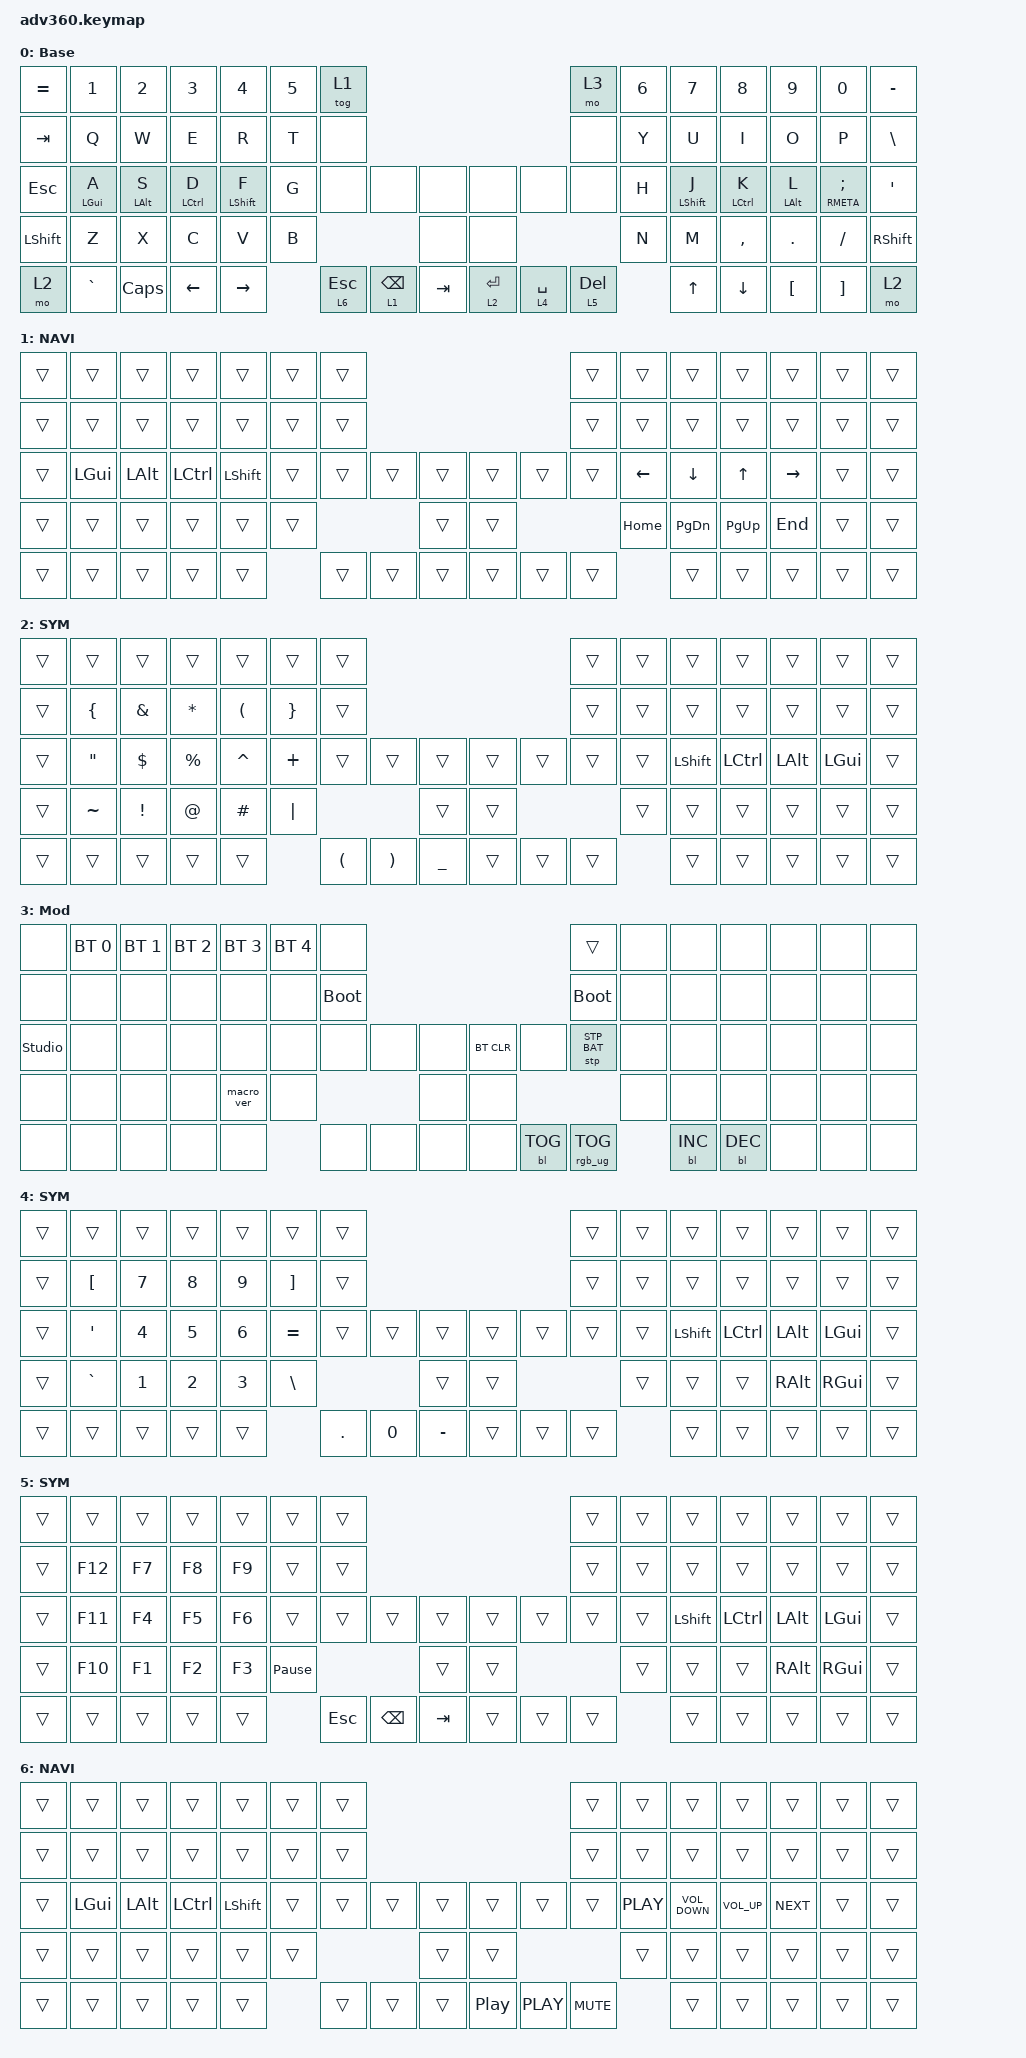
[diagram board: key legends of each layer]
#include <dt-bindings/zmk/stp.h>
#include <behaviors.dtsi>
#include <dt-bindings/zmk/backlight.h>
#include <dt-bindings/zmk/bt.h>
#include <dt-bindings/zmk/keys.h>
#include <dt-bindings/zmk/rgb.h>

/* &mt { */
/*     quick-tap-ms = <100>; */
/*     global-quick-tap; */
/*     flavor = "tap-preferred"; */
/*     tapping-term-ms = <200>; */
/* }; */

/ {
    behaviors {
      #include "macros.dtsi"
      #include "version.dtsi"

        hm: homerow_mods {
            compatible = "zmk,behavior-hold-tap";
            label = "HOMEROW_MODS";
            #binding-cells = <2>;
            bindings = <&kp>, <&kp>;

            flavor = "balanced";
            tapping-term-ms = <250>;
            quick-tap-ms = <175>;
            require-prior-idle-ms = <150>;
        };
    };

    keymap {
        compatible = "zmk,keymap";

        default_layer {
            display-name = "Base";
            bindings = <
&kp EQUAL  &kp N1      &kp N2      &kp N3              &kp N4            &kp N5  &tog 1                                                                &mo 3         &kp N6  &kp N7             &kp N8               &kp N9          &kp N0               &kp MINUS
&kp TAB    &kp Q       &kp W       &kp E               &kp R             &kp T   &none                                                                 &none         &kp Y   &kp U              &kp I                &kp O           &kp P                &kp BSLH
&kp ESC    &mt LGUI A  &mt LALT S  &mt LEFT_CONTROL D  &mt LEFT_SHIFT F  &kp G   &none         &none            &none        &none        &none        &none         &kp H   &mt LEFT_SHIFT J   &mt LEFT_CONTROL K   &mt LEFT_ALT L  &mt RMETA SEMICOLON  &kp SQT
&kp LSHFT  &kp Z       &kp X       &kp C               &kp V             &kp B                                  &none        &none                                   &kp N   &kp M              &kp COMMA            &kp DOT         &kp FSLH             &kp RSHFT
&mo 2      &kp GRAVE   &kp CAPS    &kp LEFT            &kp RIGHT                 &lt 6 ESCAPE  &lt 1 BACKSPACE  &kp TAB      &lt 2 ENTER  &lt 4 SPACE  &lt 5 DELETE          &kp UP             &kp DOWN             &kp LBKT        &kp RBKT             &mo 2
            >;
        };

        keypad {
            display-name = "NAVI";
            bindings = <
&trans  &trans    &trans    &trans            &trans          &trans  &trans                                      &trans  &trans          &trans          &trans        &trans           &trans  &trans
&trans  &trans    &trans    &trans            &trans          &trans  &trans                                      &trans  &trans          &trans          &trans        &trans           &trans  &trans
&trans  &kp LGUI  &kp LALT  &kp LEFT_CONTROL  &kp LEFT_SHIFT  &trans  &trans  &trans  &trans      &trans  &trans  &trans  &kp LEFT_ARROW  &kp DOWN_ARROW  &kp UP_ARROW  &kp RIGHT_ARROW  &trans  &trans
&trans  &trans    &trans    &trans            &trans          &trans                  &trans      &trans                  &kp HOME        &kp PAGE_DOWN   &kp PAGE_UP   &kp END          &trans  &trans
&trans  &trans    &trans    &trans            &trans                  &trans  &trans  &trans      &trans  &trans  &trans                  &trans          &trans        &trans           &trans  &trans
            >;
        };

        fn {
            display-name = "SYM";
            bindings = <
&trans  &trans             &trans         &trans        &trans                &trans           &trans                                                                           &trans  &trans  &trans      &trans            &trans    &trans    &trans
&trans  &kp LEFT_BRACE     &kp AMPERSAND  &kp ASTERISK  &kp LEFT_PARENTHESIS  &kp RIGHT_BRACE  &trans                                                                           &trans  &trans  &trans      &trans            &trans    &trans    &trans
&trans  &kp DOUBLE_QUOTES  &kp DOLLAR     &kp PERCENT   &kp CARET             &kp PLUS         &trans                &trans                 &trans              &trans  &trans  &trans  &trans  &kp LSHIFT  &kp LEFT_CONTROL  &kp LALT  &kp LGUI  &trans
&trans  &kp TILDE          &kp EXCL       &kp AT_SIGN   &kp HASH              &kp PIPE                                                      &trans              &trans                  &trans  &trans      &trans            &trans    &trans    &trans
&trans  &trans             &trans         &trans        &trans                                 &kp LEFT_PARENTHESIS  &kp RIGHT_PARENTHESIS  &kp UNDERSCORE      &trans  &trans  &trans          &trans      &trans            &trans    &trans    &trans
            >;
        };

        mod {
            display-name = "Mod";
            bindings = <
&none           &bt BT_SEL 0  &bt BT_SEL 1  &bt BT_SEL 2  &bt BT_SEL 3  &bt BT_SEL 4  &none                                                  &trans           &none  &none       &none       &none  &none  &none
&none           &none         &none         &none         &none         &none         &bootloader                                            &bootloader      &none  &none       &none       &none  &none  &none
&studio_unlock  &none         &none         &none         &none         &none         &none        &none  &none      &bt BT_CLR  &none       &stp STP_BAT     &none  &none       &none       &none  &none  &none
&none           &none         &none         &none         &macro_ver    &none                             &none      &none                                    &none  &none       &none       &none  &none  &none
&none           &none         &none         &none         &none                       &none        &none  &none      &none       &bl BL_TOG  &rgb_ug RGB_TOG         &bl BL_INC  &bl BL_DEC  &none  &none  &none
            >;
        };

        layer_9 {
            display-name = "SYM";
            bindings = <
&trans  &trans            &trans  &trans  &trans  &trans             &trans                                          &trans  &trans  &trans      &trans            &trans         &trans    &trans
&trans  &kp LEFT_BRACKET  &kp N7  &kp N8  &kp N9  &kp RIGHT_BRACKET  &trans                                          &trans  &trans  &trans      &trans            &trans         &trans    &trans
&trans  &kp SQT           &kp N4  &kp N5  &kp N6  &kp EQUAL          &trans   &trans  &trans         &trans  &trans  &trans  &trans  &kp LSHIFT  &kp LEFT_CONTROL  &kp LALT       &kp LGUI  &trans
&trans  &kp GRAVE         &kp N1  &kp N2  &kp N3  &kp BSLH                            &trans         &trans                  &trans  &trans      &trans            &kp RIGHT_ALT  &kp RGUI  &trans
&trans  &trans            &trans  &trans  &trans                     &kp DOT  &kp N0  &kp MINUS      &trans  &trans  &trans          &trans      &trans            &trans         &trans    &trans
            >;
        };

        layer_10 {
            display-name = "SYM";
            bindings = <
&trans  &trans   &trans  &trans  &trans  &trans           &trans                                          &trans  &trans  &trans      &trans            &trans         &trans    &trans
&trans  &kp F12  &kp F7  &kp F8  &kp F9  &trans           &trans                                          &trans  &trans  &trans      &trans            &trans         &trans    &trans
&trans  &kp F11  &kp F4  &kp F5  &kp F6  &trans           &trans   &trans    &trans       &trans  &trans  &trans  &trans  &kp LSHIFT  &kp LEFT_CONTROL  &kp LALT       &kp LGUI  &trans
&trans  &kp F10  &kp F1  &kp F2  &kp F3  &kp PAUSE_BREAK                     &trans       &trans                  &trans  &trans      &trans            &kp RIGHT_ALT  &kp RGUI  &trans
&trans  &trans   &trans  &trans  &trans                   &kp ESC  &kp BSPC  &kp TAB      &trans  &trans  &trans          &trans      &trans            &trans         &trans    &trans
            >;
        };

        MEDIA {
            display-name = "NAVI";
            bindings = <
&trans  &trans    &trans    &trans            &trans          &trans  &trans                                                    &trans      &trans      &trans             &trans           &trans      &trans  &trans
&trans  &trans    &trans    &trans            &trans          &trans  &trans                                                    &trans      &trans      &trans             &trans           &trans      &trans  &trans
&trans  &kp LGUI  &kp LALT  &kp LEFT_CONTROL  &kp LEFT_SHIFT  &trans  &trans  &trans  &trans      &trans            &trans      &trans      &kp C_PLAY  &kp C_VOLUME_DOWN  &kp C_VOLUME_UP  &kp C_NEXT  &trans  &trans
&trans  &trans    &trans    &trans            &trans          &trans                  &trans      &trans                                    &trans      &trans             &trans           &trans      &trans  &trans
&trans  &trans    &trans    &trans            &trans                  &trans  &trans  &trans      &kp C_PLAY_PAUSE  &kp C_PLAY  &kp C_MUTE              &trans             &trans           &trans      &trans  &trans
            >;
        };

        extra1 {
            display-name = "Red";
            status = "reserved";
        };

        extra2 {
            display-name = "Purple";
            status = "reserved";
        };

        extra3 {
            display-name = "Cyan";
            status = "reserved";
        };

        extra4 {
            display-name = "Yellow";
            status = "reserved";
        };
    };
};
